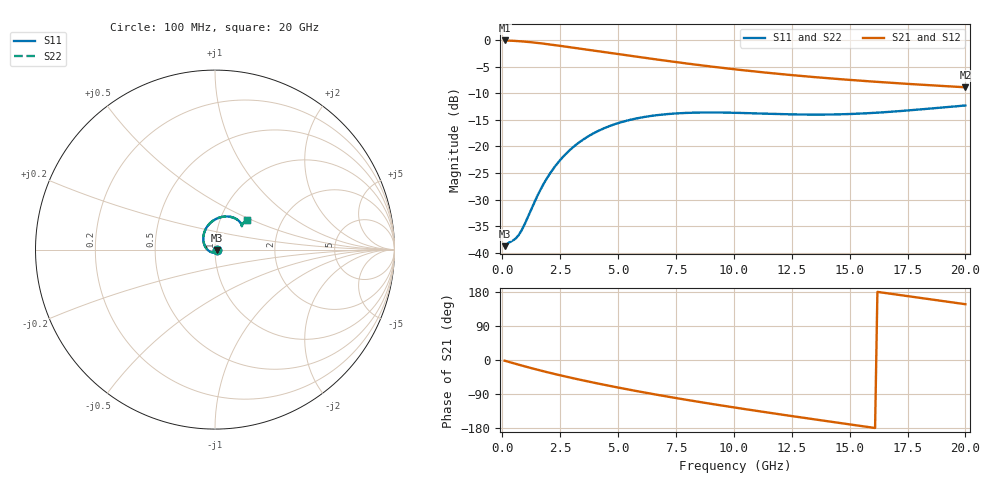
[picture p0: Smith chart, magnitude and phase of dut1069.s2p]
! Touchstone file exported from HFSS 2024.1.0
!  File:  C:/UserFiles/LocalFiles/RDL_TSV_Batchsim/temp_RDL_TSV_1069_1780092730.aedt
!  Generated:  06:25:43 AM May 30, 2026
!  Design:  RDL_TSV
!  Project:  temp_RDL_TSV_1069_1780092730
!  Setup:  Setup1
!  Solution:  Sweep
! Variables:
!  dtsv = 9.39um
!  hbump = 3um
!  htsv = 87.32um
!  ldown = 390um
!  lrdl = 472.73um
!  p = 40
!  p1 = 40.65um
!  rhole = 10um
!  subl = 3060.92um
!  t = 450um
!  tdown = 4.67um
!  trdl = 4.54um
!  viad = 10um
!  wdown = 21.61um
!  wrdl = 23.9um
!  xbump = 18um
# GHz S MA R 50.000000
! Terminal data exported
! Port[1] = TM1_1_T1
! Port[2] = TM1_4_T1
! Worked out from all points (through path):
!   200 points, 100 MHz to 20 GHz, reference 50 ohm
!   highest |S21| = -0.10 dB at 100 MHz (marker M1); lowest = -8.9 dB at 20 GHz (marker M2)
!   group delay of S21, straight-line fit = 28.1 ps
!   lowest |S11| = -38.8 dB at 100 MHz (marker M3), VSWR 1.02, Z = 51.2 - j0.161 ohm
!   |S11| at or under -10 dB: start of sweep to end of sweep
!   |S22| runs from -38.8 to -12.3 dB; largest |S21 - S12| = 1.5e-14
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0.1  0.01155 -7.8  0.988 -1.8  0.988 -1.8  0.01155 -7.8
! Gamma 0 0 0 0
! Port Impedance 50 0 50 0
0.6  0.01378 -71.6  0.9769 -10.6  0.9769 -10.6  0.01378 -71.6
0.8  0.01578 -99.1  0.9702 -14.0  0.9702 -14.0  0.01578 -99.1
1  0.01928 -123.4  0.9622 -17.3  0.9622 -17.3  0.01928 -123.4
1.5  0.03374 -166.2  0.9377 -25.4  0.9377 -25.4  0.03372 -166.1
1.8  0.04499 176.6  0.9208 -30.1  0.9208 -30.1  0.04497 176.6
2.2  0.06153 158.7  0.8972 -36.1  0.8972 -36.1  0.0615 158.7
2.6  0.07875 144.5  0.873 -41.8  0.873 -41.8  0.07871 144.5
3  0.09584 132.5  0.8489 -47.3  0.8489 -47.3  0.09578 132.6
3.5  0.1162 119.9  0.8193 -54.0  0.8193 -54.0  0.1161 119.9
4.2  0.1416 105.2  0.7793 -62.9  0.7793 -62.9  0.1415 105.2
4.9  0.1626 93.1  0.7414 -71.5  0.7414 -71.5  0.1625 93.1
5.8  0.183 80.3  0.6956 -82.0  0.6956 -82.0  0.1829 80.2
6.8  0.1977 68.8  0.6489 -93.0  0.6489 -93.0  0.1976 68.8
8.4  0.2075 55.5  0.584 -109.6  0.584 -109.6  0.2074 55.5
10.1  0.2065 46.6  0.5277 -126.0  0.5277 -126.0  0.2065 46.6
11.7  0.2018 42.3  0.4851 -140.8  0.4851 -140.8  0.2017 42.3
13.4  0.1987 41.1  0.4488 -155.9  0.4488 -155.9  0.1986 41.1
15  0.2012 41.8  0.421 -169.9  0.421 -169.9  0.2011 41.8
16.7  0.2107 42.9  0.3965 175.4  0.3965 175.4  0.2106 42.9
18.3  0.2247 43.2  0.377 161.7  0.377 161.7  0.2245 43.2
20  0.242 42.2  0.359 147.2  0.359 147.2  0.2418 42.2
